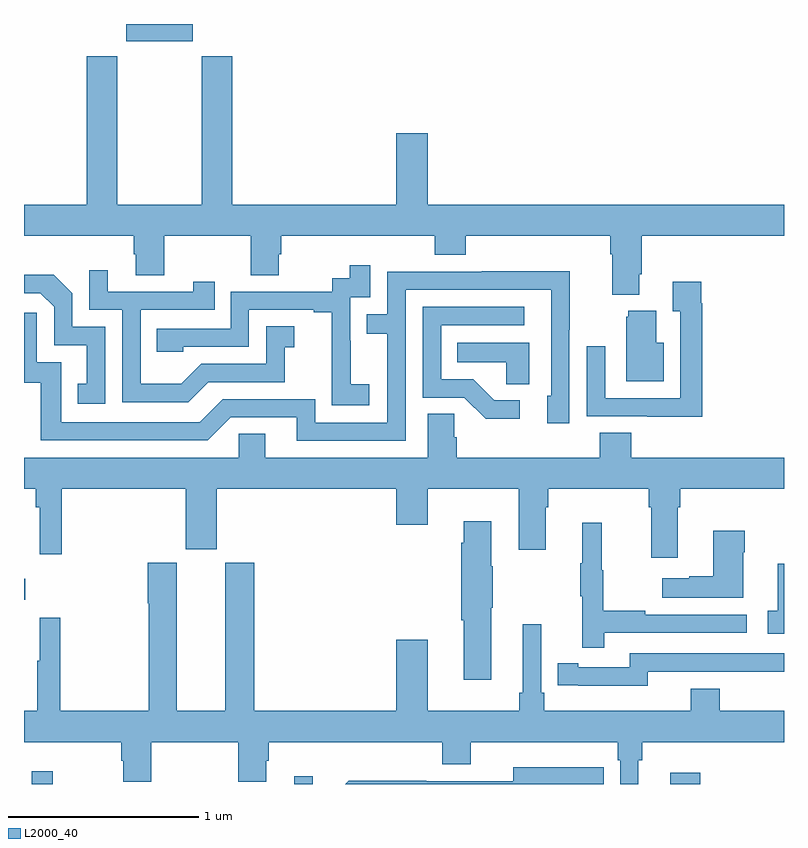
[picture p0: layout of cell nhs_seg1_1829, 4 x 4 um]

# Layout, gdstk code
import gdstk
lib = gdstk.Library(unit=1e-6, precision=1e-09)
def R(c, l, rs):  # rectangles x0, y0, x1, y1
    for r in rs: c.add(gdstk.rectangle(r[:2], r[2:], *l))
def P(c, l, *ps):  # polygons
    for p in ps: c.add(gdstk.Polygon(p, *l))
L2000_40 = (2000, 40)

nhs_seg1_1829 = lib.new_cell('nhs_seg1_1829')
R(nhs_seg1_1829, L2000_40, [(211.041,530.199,211.15,530.266), (212.423,530.199,212.52,530.239), (214.4,530.199,214.559,530.257), (211,531.168,211.007,531.28), (211.538,534.107,211.888,534.199)])
P(nhs_seg1_1829, L2000_40, [(214.237,532.882),(214.25,532.882),(214.25,533.084),(215,533.084),(215,533.248),(213.124,533.248),(213.124,533.623),(212.96,533.623),(212.96,533.248),(212.096,533.248),(212.096,534.028),(211.936,534.028),(211.936,533.248),(211.491,533.248),(211.491,534.028),(211.331,534.028),(211.331,533.248),(211,533.248),(211,533.084),(211.577,533.084),(211.577,532.986),(211.589,532.986),(211.589,532.876),(211.737,532.876),(211.737,533.084),(212.194,533.084),(212.194,532.876),(212.341,532.876),(212.341,532.986),(212.354,532.986),(212.354,533.084),(213.161,533.084),(213.161,532.985),(213.326,532.985),(213.326,533.084),(214.085,533.084),(214.085,532.988),(214.097,532.988),(214.097,532.775),(214.237,532.775)],
  [(212.818,532.303),(212.72,532.303),(212.72,532.532),(212.718,532.532),(212.718,532.761),(212.823,532.761),(212.823,532.93),(212.715,532.93),(212.715,532.86),(212.622,532.86),(212.622,532.791),(212.088,532.791),(212.088,532.596),(211.699,532.596),(211.699,532.473),(211.839,532.473),(211.839,532.5),(212.184,532.5),(212.184,532.695),(212.525,532.695),(212.525,532.683),(212.621,532.683),(212.621,532.399),(212.62,532.399),(212.62,532.193),(212.818,532.193)],
  [(211.969,532.314),(212.373,532.314),(212.373,532.499),(212.422,532.499),(212.422,532.609),(212.274,532.609),(212.274,532.41),(211.932,532.41),(211.828,532.306),(211.614,532.306),(211.614,532.695),(212.003,532.695),(212.003,532.843),(211.892,532.843),(211.892,532.791),(211.441,532.791),(211.441,532.903),(211.344,532.903),(211.344,532.695),(211.518,532.695),(211.518,532.209),(211.864,532.209)],
  [(213.009,532.8),(213.774,532.8),(213.774,532.242),(213.755,532.242),(213.755,532.098),(213.87,532.098),(213.87,532.591),(213.873,532.591),(213.873,532.898),(213.409,532.898),(213.409,532.896),(212.913,532.896),(212.913,532.671),(212.803,532.671),(212.803,532.57),(212.913,532.57),(212.913,532.101),(212.532,532.101),(212.532,532.224),(212.046,532.224),(211.926,532.104),(211.197,532.104),(211.197,532.419),(211.068,532.419),(211.068,532.678),(211,532.678),(211,532.311),(211.089,532.311),(211.089,532.008),(211.968,532.008),(212.088,532.128),(212.435,532.128),(212.435,532.005),(213.009,532.005)],
  [(211.428,532.605),(211.254,532.605),(211.254,532.782),(211.156,532.88),(211,532.88),(211,532.782),(211.086,532.782),(211.158,532.71),(211.158,532.509),(211.331,532.509),(211.331,532.305),(211.282,532.305),(211.282,532.2),(211.428,532.2)],
  [(214.571,532.73),(214.564,532.73),(214.564,532.843),(214.415,532.843),(214.415,532.687),(214.455,532.687),(214.455,532.23),(214.059,532.23),(214.059,532.504),(213.963,532.504),(213.963,532.134),(214.279,532.134),(214.279,532.133),(214.571,532.133)],
  [(213.61,532.218),(213.475,532.218),(213.364,532.329),(213.195,532.329),(213.195,532.614),(213.634,532.614),(213.634,532.71),(213.099,532.71),(213.099,532.233),(213.318,532.233),(213.431,532.121),(213.61,532.121)],
  [(214.366,532.522),(214.327,532.522),(214.327,532.69),(214.181,532.69),(214.181,532.659),(214.169,532.659),(214.169,532.319),(214.366,532.319)],
  [(213.658,532.522),(213.28,532.522),(213.28,532.418),(213.537,532.418),(213.537,532.303),(213.658,532.303)],
  [(212.269,532.043),(212.13,532.043),(212.13,531.916),(211,531.916),(211,531.752),(211.063,531.752),(211.063,531.656),(211.083,531.656),(211.083,531.408),(211.199,531.408),(211.199,531.752),(211.85,531.752),(211.85,531.435),(212.014,531.435),(212.014,531.752),(212.96,531.752),(212.96,531.564),(213.124,531.564),(213.124,531.752),(213.605,531.752),(213.605,531.432),(213.745,531.432),(213.745,531.656),(213.758,531.656),(213.758,531.752),(214.289,531.752),(214.289,531.656),(214.301,531.656),(214.301,531.39),(214.441,531.39),(214.441,531.656),(214.454,531.656),(214.454,531.752),(215,531.752),(215,531.916),(214.196,531.916),(214.196,532.049),(214.031,532.049),(214.031,531.916),(213.278,531.916),(213.278,532.025),(213.264,532.025),(213.264,532.148),(213.125,532.148),(213.125,531.916),(212.269,531.916)],
  [(213.46,531.127),(213.468,531.127),(213.468,531.344),(213.46,531.344),(213.46,531.583),(213.314,531.583),(213.314,531.47),(213.302,531.47),(213.302,531.06),(213.314,531.06),(213.314,530.748),(213.46,530.748)],
  [(214.055,530.994),(214.804,530.994),(214.804,531.09),(214.271,531.09),(214.271,531.11),(214.048,531.11),(214.048,531.324),(214.04,531.324),(214.04,531.574),(213.938,531.574),(213.938,531.361),(213.927,531.361),(213.927,531.187),(213.938,531.187),(213.938,530.916),(214.055,530.916)],
  [(214.786,531.419),(214.794,531.419),(214.794,531.532),(214.628,531.532),(214.628,531.293),(214.502,531.293),(214.502,531.283),(214.359,531.283),(214.359,531.179),(214.786,531.179)],
  [(212.213,531.363),(212.06,531.363),(212.06,530.584),(211.804,530.584),(211.804,531.363),(211.652,531.363),(211.652,531.151),(211.657,531.151),(211.657,530.584),(211.192,530.584),(211.192,531.073),(211.082,531.073),(211.082,530.849),(211.071,530.849),(211.071,530.584),(211,530.584),(211,530.42),(211.511,530.42),(211.511,530.322),(211.523,530.322),(211.523,530.212),(211.671,530.212),(211.671,530.42),(212.128,530.42),(212.128,530.212),(212.275,530.212),(212.275,530.322),(212.288,530.322),(212.288,530.42),(213.2,530.42),(213.2,530.303),(213.352,530.303),(213.352,530.42),(214.124,530.42),(214.124,530.324),(214.137,530.324),(214.137,530.199),(214.234,530.199),(214.234,530.324),(214.253,530.324),(214.253,530.42),(215,530.42),(215,530.584),(214.661,530.584),(214.661,530.701),(214.508,530.701),(214.508,530.584),(213.737,530.584),(213.737,530.68),(213.723,530.68),(213.723,531.04),(213.626,531.04),(213.626,530.68),(213.607,530.68),(213.607,530.584),(213.124,530.584),(213.124,530.959),(212.96,530.959),(212.96,530.584),(212.213,530.584)],
  [(215,531.358),(214.967,531.358),(214.967,531.111),(214.914,531.111),(214.914,530.991),(215,530.991)],
  [(214.284,530.79),(214.744,530.79),(214.744,530.789),(215,530.789),(215,530.886),(214.188,530.886),(214.188,530.814),(213.916,530.814),(213.916,530.834),(213.808,530.834),(213.808,530.718),(213.916,530.718),(213.916,530.717),(214.284,530.717)],
  [(214.052,530.286),(213.944,530.286),(213.944,530.287),(213.576,530.287),(213.576,530.214),(213.116,530.214),(213.116,530.216),(212.708,530.216),(212.691,530.199),(214.052,530.199)])

lib.write_gds('nhs_seg1_1829.gds')
